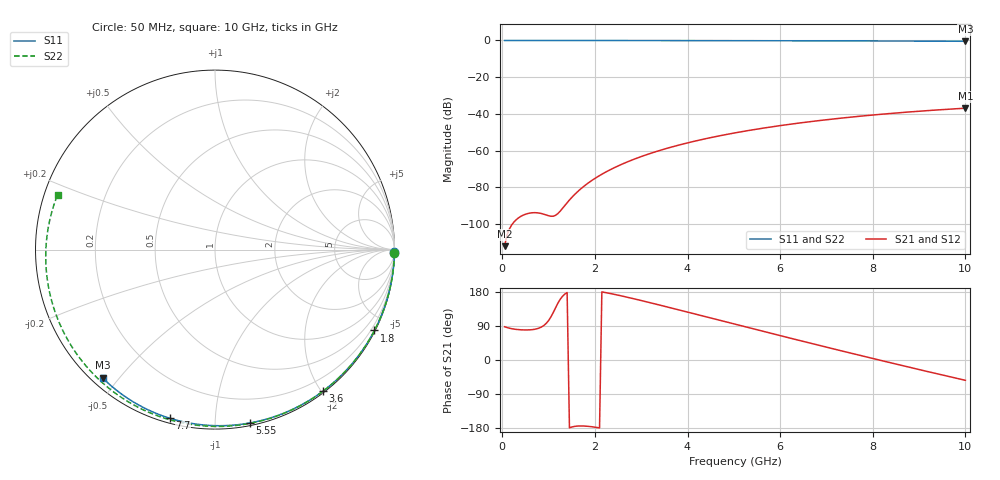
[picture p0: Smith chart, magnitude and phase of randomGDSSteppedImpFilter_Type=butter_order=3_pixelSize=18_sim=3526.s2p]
! freq	dB(S11)	phase(S11)	dB(S12)	phase(S12)
!  dB(S21)	phase(S21)	dB(S22)	phase(S22)
!S-par simulation data
#  GHz  S  DB  R 50
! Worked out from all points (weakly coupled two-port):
!   200 points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, 50 MHz to 10 GHz, reference 50 ohm
!   highest |S21| = -36.91 dB at 10 GHz (marker M1); lowest = -112.1 dB at 50 MHz (marker M2)
!   lowest |S11| = -0.4 dB at 10 GHz (marker M3), VSWR 39.10, Z = 1.54 - j22.6 ohm
!   |S11| at or under -10 dB: nowhere
!   |S22| runs from -0.6 to 0.0 dB; largest |S21 - S12| = 0
!   S11 on the Smith chart (normalised r, x): 50 MHz: open; 1.8 GHz: 0.04, -4.18; 3.6 GHz: 0.02, -2.02; 5.55 GHz: 0.02, -1.22; 7.7 GHz: 0.02, -0.77; 10 GHz: 0.03, -0.45
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0.05  -0.00 -0.8  -112.06 87.8  -112.06 87.8  -0.00 -1.1
0.45  -0.01 -6.8  -95.19 79.4  -95.19 79.4  -0.01 -9.8
0.85  -0.02 -12.8  -94.31 87.4  -94.31 87.4  -0.02 -18.5
1.7  -0.03 -25.4  -80.72 -174.0  -80.72 -174.0  -0.05 -36.6
1.75  -0.03 -26.2  -79.68 -174.2  -79.68 -174.2  -0.05 -37.6
1.8  -0.03 -26.9  -78.69 -174.5  -78.69 -174.5  -0.05 -38.7
2.1  -0.04 -31.3  -73.60 -179.2  -73.60 -179.2  -0.06 -44.9
2.5  -0.05 -37.1  -68.35 171.1  -68.35 171.1  -0.07 -53.2
2.9  -0.06 -42.8  -64.17 159.9  -64.17 159.9  -0.08 -61.3
3.4  -0.07 -49.8  -59.92 144.9  -59.92 144.9  -0.09 -71.3
3.6  -0.07 -52.6  -58.45 138.8  -58.45 138.8  -0.10 -75.2
4.3  -0.09 -62.2  -54.02 117.1  -54.02 117.1  -0.13 -88.7
5.05  -0.11 -72.1  -50.23 93.7  -50.23 93.7  -0.16 -102.9
5.55  -0.13 -78.6  -48.10 78.2  -48.10 78.2  -0.19 -112.1
6.1  -0.15 -85.5  -46.04 61.3  -46.04 61.3  -0.22 -122.3
6.7  -0.18 -92.9  -44.07 43.0  -44.07 43.0  -0.26 -133.3
7.7  -0.24 -104.9  -41.33 12.9  -41.33 12.9  -0.35 -151.9
8.35  -0.29 -112.5  -39.84 -6.3  -39.84 -6.3  -0.42 -164.5
8.8  -0.32 -117.7  -38.93 -19.4  -38.93 -19.4  -0.48 -173.5
9.2  -0.36 -122.2  -38.19 -30.9  -38.19 -30.9  -0.53 178.3
9.6  -0.40 -126.8  -37.51 -42.4  -37.51 -42.4  -0.58 169.7
10  -0.44 -131.3  -36.91 -53.6  -36.91 -53.6  -0.64 160.7
